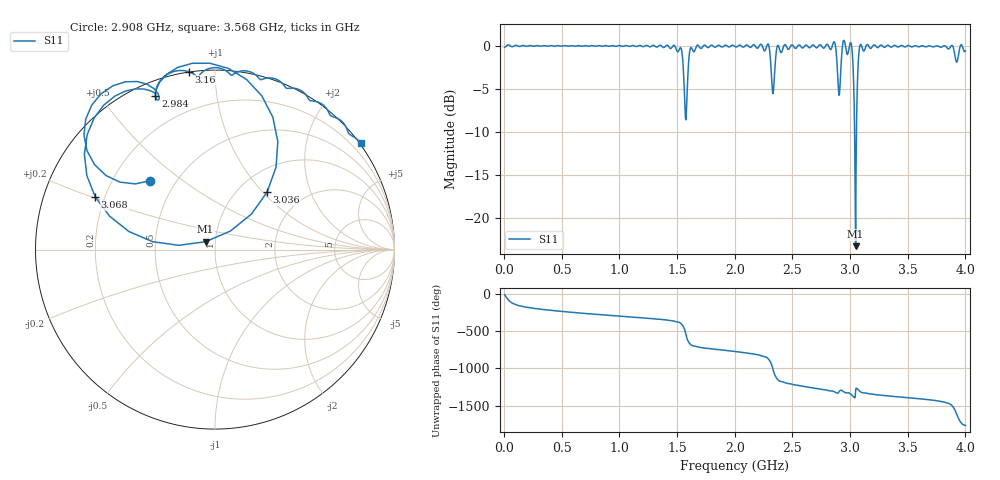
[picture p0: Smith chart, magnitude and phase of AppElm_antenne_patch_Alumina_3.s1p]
! TOUCHSTONE file generated by CST MICROWAVE STUDIO
! Date and time: Thu Jun  9 14:52:35 2022
! Project name: AppElm_antenne_patch_Alumina.cst
! Parameters = {L=30.5; W=41.8; e=0.035; h=1.6; lambda=0.190476; ls=90; w0=1.12; w1=0.373; ws=90; y0=11.9; y1=10}
! Header version: 2018
! Port assignment regex: !\s*Touchstone port\s*([0-9]+)\s*=\s*(CST MWS port|CST DS port)\s*([0-9]+|Zmin|Zmax)\s*\(\"(.*)\"\)(\s*mode\s*([0-9]+))?.*
! Touchstone port assignment:
! Touchstone port 1 = CST MWS port 1 ("")
# GHz S MA R 50
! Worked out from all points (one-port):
!   1000 points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, 4 MHz to 4 GHz, reference 50 ohm
!   lowest |S11| = -23.3 dB at 3.048 GHz (marker M1), VSWR 1.15, Z = 44.9 + j3.97 ohm
!   |S11| at or under -10 dB: 3.039 GHz to 3.055 GHz (16.3 MHz wide, 0.535 % of centre)
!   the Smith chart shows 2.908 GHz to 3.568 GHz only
!   S11 on the Smith chart (normalised r, x): 2.908 GHz: 0.36, +0.38; 2.984 GHz: 0.06, +0.68; 3.036 GHz: 1.34, +1.06; 3.068 GHz: 0.16, +0.21; 3.16 GHz: -0.00, +0.86; 3.568 GHz: -0.02, +3.07
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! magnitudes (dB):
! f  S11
! 4 MHz  -0.2
! 504 MHz  0.0
! 1.004 GHz  0.0
! 1.504 GHz  -0.7
! 1.536 GHz  -0.3
! 1.576 GHz  -8.6
! 1.624 GHz  -0.2
! 2.004 GHz  -0.1
! 2.284 GHz  0.2
! 2.332 GHz  -5.6
! 2.376 GHz  0.1
! 2.504 GHz  0.1
! 2.856 GHz  0.4
! 2.908 GHz  -5.6
! 2.944 GHz  0.6
! 2.984 GHz  -0.8
! 3.004 GHz  0.4
! 3.02 GHz  -1.0
! 3.036 GHz  -7.3
! 3.048 GHz  -23.3
! 3.06 GHz  -6.2
! 3.068 GHz  -2.7
! 3.076 GHz  -0.9
! 3.088 GHz  0.1
! 3.16 GHz  0.0
! 3.504 GHz  0.0
! 3.568 GHz  0.0
! 4 GHz  -0.6
